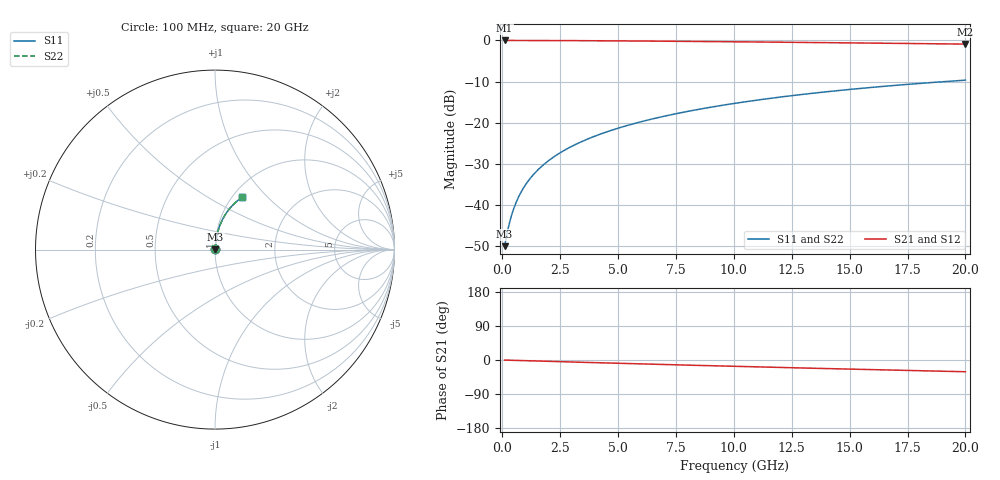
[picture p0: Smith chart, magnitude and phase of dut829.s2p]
! Touchstone file exported from HFSS 2024.1.0
!  File:  C:/UserFiles/LocalFiles/RDL_TSV_Batchsim/temp_RDL_top_829_1779854884.aedt
!  Generated:  12:10:21 PM May 27, 2026
!  Design:  RDL_top
!  Project:  temp_RDL_top_829_1779854884
!  Setup:  Setup1
!  Solution:  Sweep
! Variables:
!  dtsv = 10.80580581um
!  hbump = 3um
!  htsv = 89um
!  ldown = 100um
!  lrdl = 427.66um
!  p = 40
!  p1 = 40.42um
!  rhole = 1um
!  t = 450um
!  tdown = 3.915915916um
!  trdl = 4.26um
!  wdown = 15.38538539um
!  wrdl = 14.37um
# GHz S MA R 50.000000
! Terminal data exported
! Port[1] = Box2_T1
! Port[2] = Box2_T2
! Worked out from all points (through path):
!   200 points, 100 MHz to 20 GHz, reference 50 ohm
!   highest |S21| = -0.02 dB at 100 MHz (marker M1); lowest = -0.9 dB at 20 GHz (marker M2)
!   group delay of S21, straight-line fit = 4.29 ps
!   lowest |S11| = -50.0 dB at 100 MHz (marker M3), VSWR 1.01, Z = 50.3 + j0.183 ohm
!   |S11| at or under -10 dB: start of sweep to 19.14 GHz
!   |S22| runs from -50.0 to -9.7 dB; largest |S21 - S12| = 2.6e-15
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0.1  0.003162 35.2  0.9974 -0.2  0.9974 -0.2  0.003162 35.2
! Gamma 0 0 0 0
! Port Impedance 50 0 50 0
0.2  0.004435 53.1  0.9973 -0.4  0.9973 -0.4  0.004436 53.1
0.3  0.005917 62.7  0.9972 -0.5  0.9972 -0.5  0.005918 62.7
0.4  0.007498 68.4  0.9971 -0.7  0.9971 -0.7  0.007498 68.4
0.5  0.00913 72.1  0.997 -0.9  0.997 -0.9  0.00913 72.1
0.6  0.01079 74.6  0.9969 -1.1  0.9969 -1.1  0.01079 74.6
0.8  0.01416 77.8  0.9967 -1.4  0.9967 -1.4  0.01416 77.7
1.1  0.01926 80.2  0.9964 -2.0  0.9964 -2.0  0.01926 80.2
1.5  0.02608 81.8  0.9958 -2.7  0.9958 -2.7  0.02608 81.8
1.8  0.03119 82.4  0.9953 -3.2  0.9953 -3.2  0.03119 82.4
2.1  0.0363 82.7  0.9948 -3.7  0.9948 -3.7  0.0363 82.7
2.7  0.04651 82.9  0.9934 -4.7  0.9934 -4.7  0.04651 82.9
3.5  0.06013 82.7  0.9912 -6.1  0.9912 -6.1  0.06012 82.7
4.2  0.07205 82.3  0.9888 -7.3  0.9888 -7.3  0.07205 82.3
5  0.08571 81.7  0.9858 -8.7  0.9858 -8.7  0.0857 81.7
5.9  0.1011 80.9  0.982 -10.1  0.982 -10.1  0.1011 80.9
6.8  0.1165 80.0  0.9779 -11.6  0.9779 -11.6  0.1165 80.0
8.3  0.1422 78.3  0.9705 -14.0  0.9705 -14.0  0.1422 78.2
10.1  0.1728 76.0  0.961 -16.8  0.961 -16.8  0.1728 76.0
13.4  0.2277 71.6  0.942 -21.7  0.942 -21.7  0.2276 71.6
16.7  0.2799 67.1  0.9218 -26.4  0.9218 -26.4  0.2798 67.1
20  0.3286 62.6  0.9008 -31.0  0.9008 -31.0  0.3285 62.6
